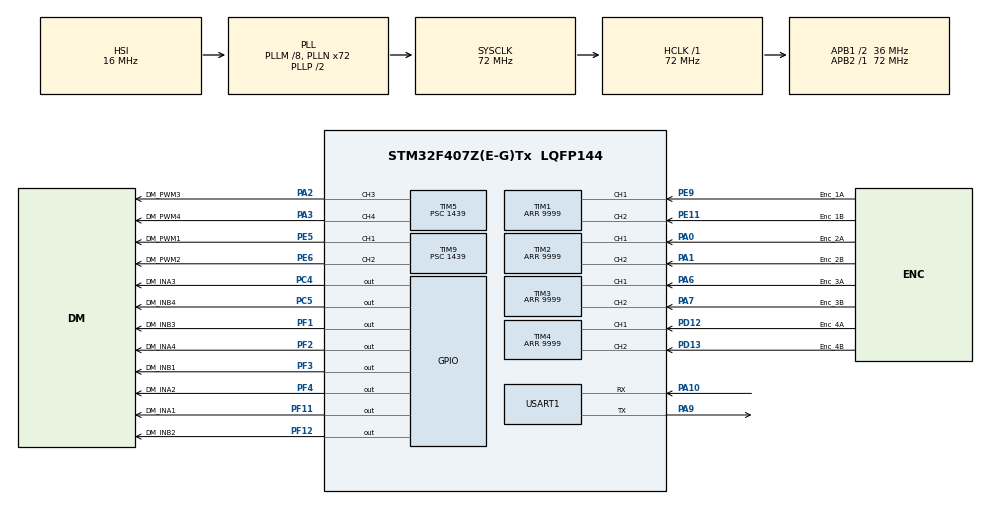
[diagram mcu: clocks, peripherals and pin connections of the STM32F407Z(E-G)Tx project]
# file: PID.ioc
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Mcu.Family=STM32F4
Mcu.Name=STM32F407Z(E-G)Tx
Mcu.Package=LQFP144
NVIC.PriorityGroup=NVIC_PRIORITYGROUP_4
NVIC.TIM1_BRK_TIM9_IRQn=true\:0\:0\:false\:false\:true\:true\:true\:true
NVIC.TIM1_CC_IRQn=true\:0\:0\:false\:false\:true\:true\:true\:true
NVIC.TIM1_TRG_COM_TIM11_IRQn=true\:0\:0\:false\:false\:true\:true\:true\:true
NVIC.TIM1_UP_TIM10_IRQn=true\:0\:0\:false\:false\:true\:true\:true\:true
NVIC.TIM2_IRQn=true\:0\:0\:false\:false\:true\:true\:true\:true
NVIC.TIM3_IRQn=true\:0\:0\:false\:false\:true\:true\:true\:true
NVIC.TIM4_IRQn=true\:0\:0\:false\:false\:true\:true\:true\:true
NVIC.TIM5_IRQn=true\:0\:0\:false\:false\:true\:true\:true\:true
NVIC.TIM8_TRG_COM_TIM14_IRQn=true\:0\:0\:false\:false\:true\:true\:true\:true
NVIC.USART1_IRQn=true\:0\:0\:false\:false\:true\:true\:true\:true
PA0-WKUP.GPIO_Label=Enc_2A
PA0-WKUP.Signal=S_TIM2_CH1_ETR
PA1.GPIO_Label=Enc_2B
PA1.Signal=S_TIM2_CH2
PA10.Mode=Asynchronous
PA10.Signal=USART1_RX
PA13.Mode=JTAG_4_pins
PA13.Signal=SYS_JTMS-SWDIO
PA14.Mode=JTAG_4_pins
PA14.Signal=SYS_JTCK-SWCLK
PA15.Mode=JTAG_4_pins
PA15.Signal=SYS_JTDI
PA2.GPIO_Label=DM_PWM3
PA2.Signal=S_TIM5_CH3
PA3.GPIO_Label=DM_PWM4
PA3.Signal=S_TIM5_CH4
PA6.GPIO_Label=Enc_3A
PA6.Signal=S_TIM3_CH1
PA7.GPIO_Label=Enc_3B
PA7.Signal=S_TIM3_CH2
PA9.Mode=Asynchronous
PA9.Signal=USART1_TX
PB3.Mode=JTAG_4_pins
PB3.Signal=SYS_JTDO-SWO
PC14-OSC32_IN.Mode=LSE-External-Clock-Source
PC14-OSC32_IN.Signal=RCC_OSC32_IN
PC15-OSC32_OUT.Mode=LSE-External-Clock-Source
PC15-OSC32_OUT.Signal=RCC_OSC32_OUT
PC4.GPIO_Label=DM_INA3
PC4.Signal=GPIO_Output
PC5.GPIO_Label=DM_INB4
PC5.Signal=GPIO_Output
PD12.GPIO_Label=Enc_4A
PD12.Signal=S_TIM4_CH1
PD13.GPIO_Label=Enc_4B
PD13.Signal=S_TIM4_CH2
PE11.GPIO_Label=Enc_1B
PE11.Signal=S_TIM1_CH2
PE5.GPIO_Label=DM_PWM1
PE5.Signal=S_TIM9_CH1
PE6.GPIO_Label=DM_PWM2
PE6.Signal=S_TIM9_CH2
PE9.GPIO_Label=Enc_1A
PE9.Signal=S_TIM1_CH1
PF1.GPIO_Label=DM_INB3
PF1.Signal=GPIO_Output
PF11.GPIO_Label=DM_INA1
PF11.Signal=GPIO_Output
PF12.GPIO_Label=DM_INB2
PF12.Signal=GPIO_Output
PF2.GPIO_Label=DM_INA4
PF2.Signal=GPIO_Output
PF3.GPIO_Label=DM_INB1
PF3.Signal=GPIO_Output
PF4.GPIO_Label=DM_INA2
PF4.Signal=GPIO_Output
PH0-OSC_IN.Mode=HSE-External-Clock-Source
PH0-OSC_IN.Signal=RCC_OSC_IN
PH1-OSC_OUT.Mode=HSE-External-Clock-Source
PH1-OSC_OUT.Signal=RCC_OSC_OUT
ProjectManager.HeapSize=0x200
ProjectManager.StackSize=0x400
ProjectManager.TargetToolchain=CMake
RCC.48MHZClocksFreq_Value=36000000
RCC.AHBFreq_Value=72000000
RCC.APB1CLKDivider=RCC_HCLK_DIV2
RCC.APB1Freq_Value=36000000
RCC.APB1TimFreq_Value=72000000
RCC.APB2Freq_Value=72000000
RCC.APB2TimFreq_Value=72000000
RCC.CortexFreq_Value=72000000
RCC.HCLKFreq_Value=72000000
RCC.HSE_VALUE=8000000
RCC.HSI_VALUE=16000000
RCC.LSE_VALUE=32768
RCC.PLLM=8
RCC.PLLN=72
RCC.SYSCLKFreq_VALUE=72000000
RCC.SYSCLKSource=RCC_SYSCLKSOURCE_PLLCLK
RCC.VCOOutputFreq_Value=144000000
SH.S_TIM1_CH1.0=TIM1_CH1,Encoder_Interface
SH.S_TIM1_CH2.0=TIM1_CH2,Encoder_Interface
SH.S_TIM2_CH1_ETR.0=TIM2_CH1,Encoder_Interface
SH.S_TIM2_CH2.0=TIM2_CH2,Encoder_Interface
SH.S_TIM3_CH1.0=TIM3_CH1,Encoder_Interface
SH.S_TIM3_CH2.0=TIM3_CH2,Encoder_Interface
SH.S_TIM4_CH1.0=TIM4_CH1,Encoder_Interface
SH.S_TIM4_CH2.0=TIM4_CH2,Encoder_Interface
SH.S_TIM5_CH3.0=TIM5_CH3,PWM Generation3 CH3
SH.S_TIM5_CH4.0=TIM5_CH4,PWM Generation4 CH4
SH.S_TIM9_CH1.0=TIM9_CH1,PWM Generation1 CH1
SH.S_TIM9_CH2.0=TIM9_CH2,PWM Generation2 CH2
TIM1.EncoderMode=TIM_ENCODERMODE_TI12
TIM1.IC1Filter=5
TIM1.IC2Filter=5
TIM1.Period=9999
TIM14.Period=999
TIM14.Prescaler=7199
TIM2.EncoderMode=TIM_ENCODERMODE_TI12
TIM2.IC1Filter=5
TIM2.IC2Filter=5
TIM2.Period=9999
TIM3.EncoderMode=TIM_ENCODERMODE_TI12
TIM3.IC1Filter=5
TIM3.IC2Filter=5
TIM3.Period=9999
TIM4.EncoderMode=TIM_ENCODERMODE_TI12
TIM4.IC1Filter=5
TIM4.IC2Filter=5
TIM4.Period=9999
TIM5.Channel-PWM\ Generation3\ CH3=TIM_CHANNEL_3
TIM5.Channel-PWM\ Generation4\ CH4=TIM_CHANNEL_4
TIM5.Period=999
TIM5.Prescaler=1439
TIM9.Channel-PWM\ Generation1\ CH1=TIM_CHANNEL_1
TIM9.Channel-PWM\ Generation2\ CH2=TIM_CHANNEL_2
TIM9.Period=999
TIM9.Prescaler=1439
USART1.VirtualMode=VM_ASYNC
VP_TIM14_VS_ClockSourceINT.Mode=Enable_Timer
VP_TIM5_VS_ClockSourceINT.Mode=Internal
VP_TIM9_VS_ClockSourceINT.Mode=Internal
board=custom

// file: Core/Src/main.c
/* USER CODE BEGIN Header */
/**
 ******************************************************************************
 * @file           : main.c
 * @brief          : Main program body
 ******************************************************************************
 * @attention
 *
 * Copyright (c) 2024 STMicroelectronics.
 * All rights reserved.
 *
 * This software is licensed under terms that can be found in the LICENSE file
 * in the root directory of this software component.
 * If no LICENSE file comes with this software, it is provided AS-IS.
 *
 ******************************************************************************
 */
/* USER CODE END Header */
#include "main.h"

#include "gpio.h"
#include "tim.h"
#include "usart.h"

/* USER CODE BEGIN Includes */
#include <stdio.h>
#include <string.h>

#include "motor_control.h"
#include "vofa.h"
/* USER CODE END Includes */

/* USER CODE BEGIN PD */
#ifdef __GNUC__
#define PUTCHAR_PROTOTYPE int __io_putchar(int ch)
#define GETCHAR_PROTOTYPE int __io_getchar(void)
#else
#define PUTCHAR_PROTOTYPE int fputc(int ch, FILE *f)
#define GETCHAR_PROTOTYPE int fgetc(FILE *f)
#endif

#define RXBUFFERSIZE 256
/* USER CODE END PD */

/* USER CODE BEGIN PV */
char RxBuffer[RXBUFFERSIZE];
/* USER CODE END PV */

void SystemClock_Config(void);

int main(void) {

  /* MCU Configuration--------------------------------------------------------*/

  /* Reset of all peripherals, Initializes the Flash interface and the Systick.
   */
  HAL_Init();

  /* Configure the system clock */
  SystemClock_Config();

  /* Initialize all configured peripherals */
  MX_GPIO_Init();
  MX_TIM1_Init();
  MX_TIM2_Init();
  MX_TIM3_Init();
  MX_TIM4_Init();
  MX_TIM5_Init();
  MX_TIM9_Init();
  MX_TIM14_Init();
  MX_USART1_UART_Init();
  /* USER CODE BEGIN 2 */
  setvbuf(stdin, NULL, _IONBF, 0);

  DM_Init();
  Encoder_Init();
  // PID_Init();

  DM_SetOutput(0, 100);
  // DM_SetOutput(1, 100);
  // DM_SetOutput(2, 100);
  // DM_SetOutput(3, 100);

  // DM_SetOutput(1, 100);

  /* USER CODE END 2 */

  /* Infinite loop */
  /* USER CODE BEGIN WHILE */
  // char Buffer[10] = {0};
  while (1) {
    /* USER CODE END WHILE */

    /* USER CODE BEGIN 3 */
    printf("count = %ld,%ld,%ld,%ld\n", Encoder_GetCount(0),
           Encoder_GetCount(1), Encoder_GetCount(2), Encoder_GetCount(3));
    HAL_Delay(100);

    // scanf("%s", Buffer);
    // AdjustPID(Buffer);
    // getchar();p
    // memset(Buffer, 0, sizeof(Buffer));
  }
  /* USER CODE END 3 */
}

void SystemClock_Config(void) {
  RCC_OscInitTypeDef RCC_OscInitStruct = {0};
  RCC_ClkInitTypeDef RCC_ClkInitStruct = {0};

  /** Configure the main internal regulator output voltage
   */
  __HAL_RCC_PWR_CLK_ENABLE();
  __HAL_PWR_VOLTAGESCALING_CONFIG(PWR_REGULATOR_VOLTAGE_SCALE1);

  /** Initializes the RCC Oscillators according to the specified parameters
   * in the RCC_OscInitTypeDef structure.
   */
  RCC_OscInitStruct.OscillatorType = RCC_OSCILLATORTYPE_HSI;
  RCC_OscInitStruct.HSIState = RCC_HSI_ON;
  RCC_OscInitStruct.HSICalibrationValue = RCC_HSICALIBRATION_DEFAULT;
  RCC_OscInitStruct.PLL.PLLState = RCC_PLL_ON;
  RCC_OscInitStruct.PLL.PLLSource = RCC_PLLSOURCE_HSI;
  RCC_OscInitStruct.PLL.PLLM = 8;
  RCC_OscInitStruct.PLL.PLLN = 72;
  RCC_OscInitStruct.PLL.PLLP = RCC_PLLP_DIV2;
  RCC_OscInitStruct.PLL.PLLQ = 4;
  if (HAL_RCC_OscConfig(&RCC_OscInitStruct) != HAL_OK) {
    Error_Handler();
  }

  /** Initializes the CPU, AHB and APB buses clocks
   */
  RCC_ClkInitStruct.ClockType = RCC_CLOCKTYPE_HCLK | RCC_CLOCKTYPE_SYSCLK |
                                RCC_CLOCKTYPE_PCLK1 | RCC_CLOCKTYPE_PCLK2;
  RCC_ClkInitStruct.SYSCLKSource = RCC_SYSCLKSOURCE_PLLCLK;
  RCC_ClkInitStruct.AHBCLKDivider = RCC_SYSCLK_DIV1;
  RCC_ClkInitStruct.APB1CLKDivider = RCC_HCLK_DIV2;
  RCC_ClkInitStruct.APB2CLKDivider = RCC_HCLK_DIV1;

  if (HAL_RCC_ClockConfig(&RCC_ClkInitStruct, FLASH_LATENCY_2) != HAL_OK) {
    Error_Handler();
  }
}

/* USER CODE BEGIN 4 */
PUTCHAR_PROTOTYPE {
  HAL_UART_Transmit(&huart1, (uint8_t *)&ch, 1, HAL_MAX_DELAY);
  return ch;
}

GETCHAR_PROTOTYPE {
  uint8_t ch = 0;
  __HAL_UART_CLEAR_OREFLAG(&huart1);
  HAL_UART_Receive(&huart1, &ch, 1, HAL_MAX_DELAY);
  return ch;
}
/* USER CODE END 4 */

void Error_Handler(void) {
  __disable_irq();
  while (1) {
  }
}

#ifdef USE_FULL_ASSERT
/**
 * @brief  Reports the name of the source file and the source line number
 *         where the assert_param error has occurred.
 * @param  file: pointer to the source file name
 * @param  line: assert_param error line source number
 * @retval None
 */
void assert_failed(uint8_t *file, uint32_t line) {
  /* USER CODE BEGIN 6 */
  /* User can add his own implementation to report the file name and line
     number, ex: printf("Wrong parameters value: file %s on line %d\r\n", file,
     line) */
  /* USER CODE END 6 */
}
#endif /* USE_FULL_ASSERT */
